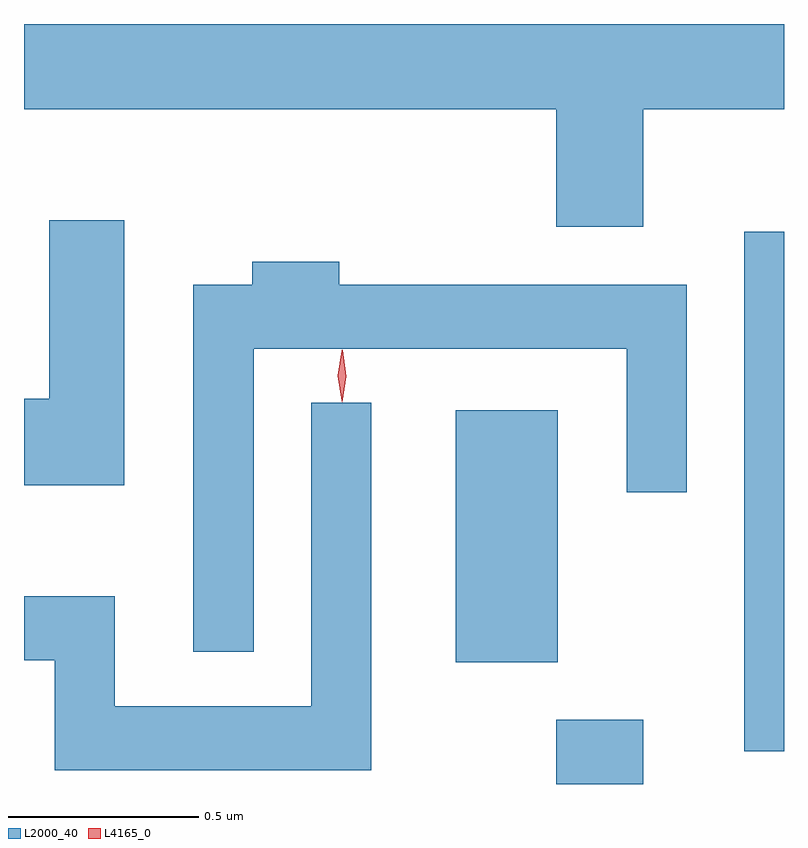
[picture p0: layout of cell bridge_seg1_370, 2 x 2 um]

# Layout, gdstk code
import gdstk
lib = gdstk.Library(unit=1e-6, precision=1e-09)
def R(c, l, rs):  # rectangles x0, y0, x1, y1
    for r in rs: c.add(gdstk.rectangle(r[:2], r[2:], *l))
def P(c, l, *ps):  # polygons
    for p in ps: c.add(gdstk.Polygon(p, *l))
L2000_40 = (2000, 40)
L4165_0 = (4165, 0)

bridge_seg1_370 = lib.new_cell('bridge_seg1_370')
R(bridge_seg1_370, L2000_40, [(925.181,875.6,925.409,875.769), (925.676,875.686,925.78,877.053), (924.916,875.921,925.184,876.584)])
P(bridge_seg1_370, L2000_40, [(925.409,877.376),(925.78,877.376),(925.78,877.6),(923.78,877.6),(923.78,877.376),(925.181,877.376),(925.181,877.066),(925.409,877.066)],
  [(924.044,877.084),(923.846,877.084),(923.846,876.614),(923.78,876.614),(923.78,876.386),(924.044,876.386)],
  [(924.384,876.746),(925.366,876.746),(925.366,876.368),(925.524,876.368),(925.524,876.914),(924.609,876.914),(924.609,876.974),(924.381,876.974),(924.381,876.914),(924.226,876.914),(924.226,875.948),(924.384,875.948)],
  [(924.694,876.603),(924.536,876.603),(924.536,875.804),(924.019,875.804),(924.019,876.094),(923.78,876.094),(923.78,875.926),(923.861,875.926),(923.861,875.636),(924.694,875.636)])
P(bridge_seg1_370, L4165_0, [(924.616,876.607),(924.616,876.608),(924.606,876.674),(924.616,876.74),(924.616,876.741),(924.617,876.74),(924.626,876.674),(924.617,876.608)],
  [(924.617,876.604),(924.608,876.673),(924.618,876.742),(924.618,876.743),(924.619,876.742),(924.628,876.673),(924.618,876.604),(924.618,876.604)])

lib.write_gds('bridge_seg1_370.gds')
